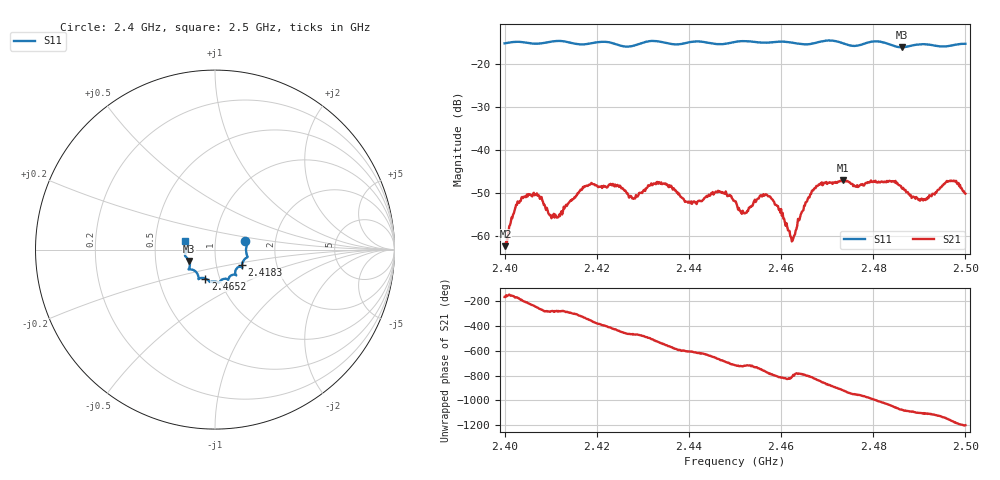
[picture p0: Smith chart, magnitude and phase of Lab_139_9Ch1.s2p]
# Hz S RI R 50
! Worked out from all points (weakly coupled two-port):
!   601 points, 2.4 GHz to 2.5 GHz, reference 50 ohm
!   highest |S21| = -46.99 dB at 2.4735 GHz (marker M1); lowest = -62.3 dB at 2.4002 GHz (marker M2)
!   lowest |S11| = -16.1 dB at 2.4862 GHz (marker M3), VSWR 1.37, Z = 37.2 - j4.87 ohm
!   |S11| at or under -10 dB: start of sweep to end of sweep
!   S12 and S22 are empty: the file has one direction only
!   S11 on the Smith chart (normalised r, x): 2.4 GHz: 1.40, +0.13; 2.4183 GHz: 1.33, -0.24; 2.4652 GHz: 0.85, -0.28; 2.5 GHz: 0.71, +0.07
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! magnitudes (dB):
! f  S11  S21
! 2.4 GHz  -15.2  -62.1
! 2.4002 GHz  -15.1  -62.3
! 2.4042 GHz  -14.9  -50.9
! 2.4113 GHz  -14.6  -55.7
! 2.4167 GHz  -15.4  -49.3
! 2.4183 GHz  -15.2  -48.0
! 2.4278 GHz  -15.8  -51.2
! 2.4333 GHz  -14.7  -47.8
! 2.4397 GHz  -15.0  -52.0
! 2.4463 GHz  -15.4  -49.4
! 2.45 GHz  -14.8  -51.9
! 2.452 GHz  -14.6  -54.7
! 2.4572 GHz  -15.0  -50.7
! 2.4625 GHz  -15.0  -61.1
! 2.4652 GHz  -15.4  -52.9
! 2.4667 GHz  -15.3  -49.5
! 2.4735 GHz  -15.2  -47.0
! 2.4833 GHz  -15.3  -47.3
! 2.4862 GHz  -16.1  -48.8
! 2.4912 GHz  -15.4  -51.5
! 2.4975 GHz  -15.6  -47.1
! 2.5 GHz  -15.3  -50.1
